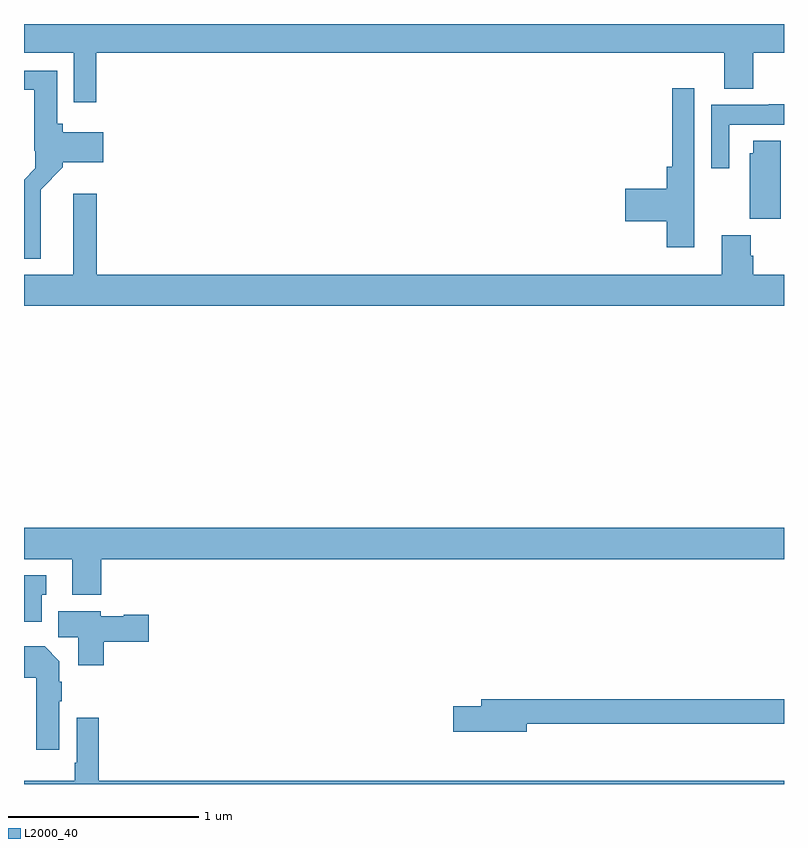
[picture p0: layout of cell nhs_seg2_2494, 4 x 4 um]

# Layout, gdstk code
import gdstk
lib = gdstk.Library(unit=1e-6, precision=1e-09)
def P(c, l, *ps):  # polygons
    for p in ps: c.add(gdstk.Polygon(p, *l))
L2000_40 = (2000, 40)

nhs_seg2_2494 = lib.new_cell('nhs_seg2_2494')
P(nhs_seg2_2494, L2000_40, [(241.379,635.648),(244.685,635.648),(244.685,635.459),(244.838,635.459),(244.838,635.648),(245,635.648),(245,635.8),(241,635.8),(241,635.648),(241.263,635.648),(241.263,635.388),(241.379,635.388)],
  [(241.087,634.928),(241.205,635.046),(241.205,635.072),(241.417,635.072),(241.417,635.23),(241.205,635.23),(241.205,635.274),(241.174,635.274),(241.174,635.554),(241,635.554),(241,635.453),(241.055,635.453),(241.055,635.134),(241.059,635.134),(241.059,635.04),(241,634.981),(241,634.565),(241.087,634.565)],
  [(244.528,634.917),(244.527,634.917),(244.527,635.461),(244.411,635.461),(244.411,635.05),(244.382,635.05),(244.382,634.934),(244.164,634.934),(244.164,634.763),(244.382,634.763),(244.382,634.626),(244.528,634.626)],
  [(244.713,635.27),(245,635.27),(245,635.377),(244.921,635.377),(244.921,635.374),(244.617,635.374),(244.617,635.04),(244.713,635.04)],
  [(244.984,635.185),(244.838,635.185),(244.838,635.121),(244.82,635.121),(244.82,634.774),(244.984,634.774)],
  [(244.825,634.58),(244.825,634.689),(244.673,634.689),(244.673,634.48),(241.382,634.48),(241.382,634.906),(241.259,634.906),(241.259,634.48),(241,634.48),(241,634.316),(245,634.316),(245,634.48),(244.838,634.48),(244.838,634.58)],
  [(241.406,632.984),(245,632.984),(245,633.148),(241,633.148),(241,632.984),(241.253,632.984),(241.253,632.795),(241.406,632.795)],
  [(241.093,632.796),(241.117,632.796),(241.117,632.899),(241,632.899),(241,632.654),(241.093,632.654)],
  [(241.421,632.549),(241.657,632.549),(241.657,632.691),(241.524,632.691),(241.524,632.683),(241.404,632.683),(241.404,632.71),(241.181,632.71),(241.181,632.572),(241.286,632.572),(241.286,632.424),(241.421,632.424)],
  [(241.186,632.236),(241.199,632.236),(241.199,632.339),(241.186,632.339),(241.186,632.446),(241.108,632.524),(241,632.524),(241,632.36),(241.064,632.36),(241.064,631.98),(241.186,631.98)],
  [(243.646,632.118),(245,632.118),(245,632.246),(243.407,632.246),(243.407,632.21),(243.258,632.21),(243.258,632.075),(243.646,632.075)],
  [(245,631.816),(241.394,631.816),(241.394,632.149),(241.278,632.149),(241.278,631.912),(241.266,631.912),(241.266,631.816),(241,631.816),(241,631.8),(245,631.8)])

lib.write_gds('nhs_seg2_2494.gds')
